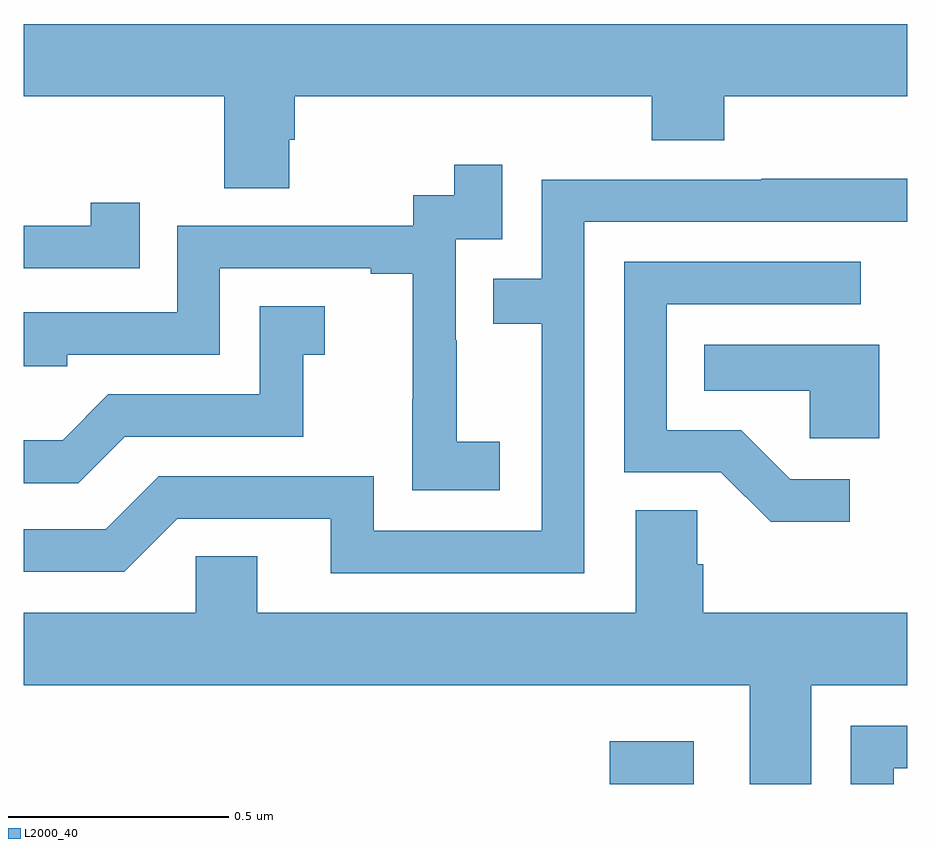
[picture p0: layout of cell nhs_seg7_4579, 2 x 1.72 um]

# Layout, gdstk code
import gdstk
lib = gdstk.Library(unit=1e-6, precision=1e-09)
def R(c, l, rs):  # rectangles x0, y0, x1, y1
    for r in rs: c.add(gdstk.rectangle(r[:2], r[2:], *l))
def P(c, l, *ps):  # polygons
    for p in ps: c.add(gdstk.Polygon(p, *l))
L2000_40 = (2000, 40)

nhs_seg7_4579 = lib.new_cell('nhs_seg7_4579')
R(nhs_seg7_4579, L2000_40, [(175.327,1059,175.516,1059.097)])
P(nhs_seg7_4579, L2000_40, [(174.601,1060.458),(174.614,1060.458),(174.614,1060.556),(175.421,1060.556),(175.421,1060.457),(175.586,1060.457),(175.586,1060.556),(176,1060.556),(176,1060.72),(174,1060.72),(174,1060.556),(174.454,1060.556),(174.454,1060.348),(174.601,1060.348)],
  [(175.078,1059.775),(174.98,1059.775),(174.98,1060.004),(174.978,1060.004),(174.978,1060.233),(175.083,1060.233),(175.083,1060.402),(174.975,1060.402),(174.975,1060.332),(174.882,1060.332),(174.882,1060.263),(174.348,1060.263),(174.348,1060.068),(174,1060.068),(174,1059.945),(174.099,1059.945),(174.099,1059.972),(174.444,1059.972),(174.444,1060.167),(174.785,1060.167),(174.785,1060.155),(174.881,1060.155),(174.881,1059.871),(174.88,1059.871),(174.88,1059.665),(175.078,1059.665)],
  [(175.269,1060.272),(176,1060.272),(176,1060.37),(175.669,1060.37),(175.669,1060.368),(175.173,1060.368),(175.173,1060.143),(175.063,1060.143),(175.063,1060.042),(175.173,1060.042),(175.173,1059.573),(174.792,1059.573),(174.792,1059.696),(174.306,1059.696),(174.186,1059.576),(174,1059.576),(174,1059.48),(174.228,1059.48),(174.348,1059.6),(174.695,1059.6),(174.695,1059.477),(175.269,1059.477)],
  [(174.263,1060.315),(174.152,1060.315),(174.152,1060.263),(174,1060.263),(174,1060.167),(174.263,1060.167)],
  [(175.87,1059.69),(175.735,1059.69),(175.624,1059.801),(175.455,1059.801),(175.455,1060.086),(175.894,1060.086),(175.894,1060.182),(175.359,1060.182),(175.359,1059.705),(175.578,1059.705),(175.691,1059.593),(175.87,1059.593)],
  [(174.229,1059.786),(174.633,1059.786),(174.633,1059.971),(174.682,1059.971),(174.682,1060.081),(174.534,1060.081),(174.534,1059.882),(174.192,1059.882),(174.088,1059.778),(174,1059.778),(174,1059.681),(174.124,1059.681)],
  [(175.936,1059.994),(175.54,1059.994),(175.54,1059.89),(175.779,1059.89),(175.779,1059.782),(175.936,1059.782)],
  [(175.783,1059.224),(176,1059.224),(176,1059.388),(175.538,1059.388),(175.538,1059.497),(175.524,1059.497),(175.524,1059.62),(175.385,1059.62),(175.385,1059.388),(174.529,1059.388),(174.529,1059.515),(174.39,1059.515),(174.39,1059.388),(174,1059.388),(174,1059.224),(175.643,1059.224),(175.643,1059),(175.783,1059)],
  [(175.969,1059.036),(176,1059.036),(176,1059.132),(175.872,1059.132),(175.872,1059),(175.969,1059)])

lib.write_gds('nhs_seg7_4579.gds')
